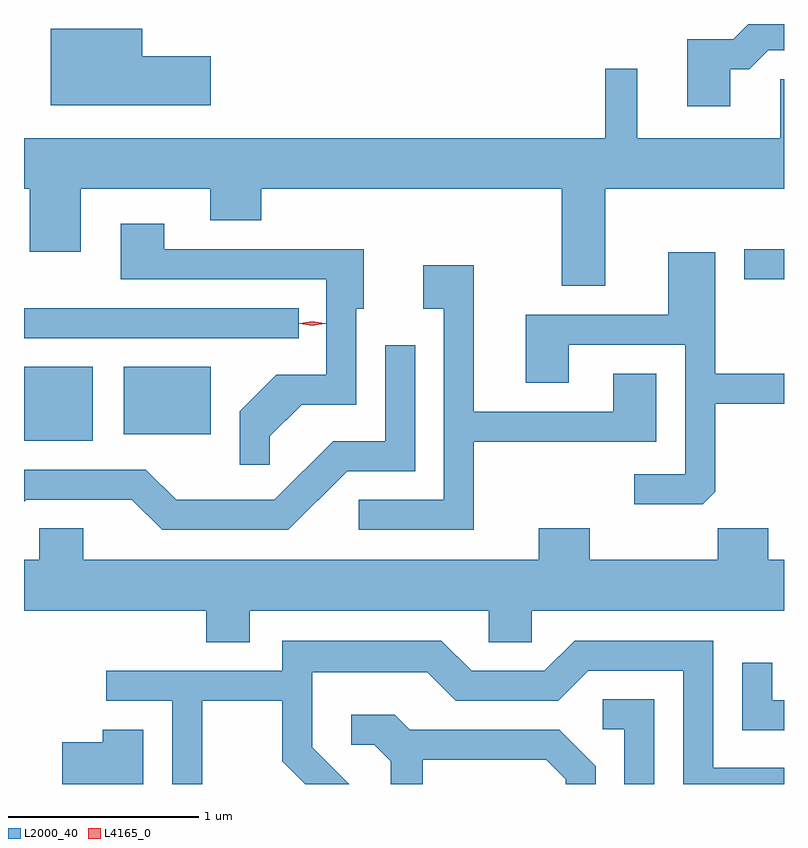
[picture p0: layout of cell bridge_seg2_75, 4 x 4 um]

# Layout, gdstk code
import gdstk
lib = gdstk.Library(unit=1e-6, precision=1e-09)
def R(c, l, rs):  # rectangles x0, y0, x1, y1
    for r in rs: c.add(gdstk.rectangle(r[:2], r[2:], *l))
def P(c, l, *ps):  # polygons
    for p in ps: c.add(gdstk.Polygon(p, *l))
L2000_40 = (2000, 40)
L4165_0 = (4165, 0)

bridge_seg2_75 = lib.new_cell('bridge_seg2_75')
R(bridge_seg2_75, L2000_40, [(1216.841,1066.971,1217.204,1067.359), (1217.366,1067.006,1217.824,1067.359), (1216.841,1067.511,1218.288,1067.669), (1220.633,1067.821,1220.841,1067.979)])
P(bridge_seg2_75, L2000_40, [(1220.559,1068.926),(1220.657,1068.926),(1220.757,1069.026),(1220.841,1069.026),(1220.841,1069.164),(1220.654,1069.164),(1220.574,1069.084),(1220.331,1069.084),(1220.331,1068.731),(1220.559,1068.731)],
  [(1217.824,1068.994),(1217.464,1068.994),(1217.464,1069.139),(1216.981,1069.139),(1216.981,1068.736),(1217.824,1068.736)],
  [(1219.899,1068.296),(1220.841,1068.296),(1220.841,1068.874),(1220.821,1068.874),(1220.821,1068.564),(1220.069,1068.564),(1220.069,1068.928),(1219.901,1068.928),(1219.901,1068.564),(1216.841,1068.564),(1216.841,1068.296),(1216.871,1068.296),(1216.871,1067.966),(1217.139,1067.966),(1217.139,1068.296),(1217.821,1068.296),(1217.821,1068.131),(1218.089,1068.131),(1218.089,1068.296),(1219.671,1068.296),(1219.671,1067.786),(1219.899,1067.786)],
  [(1218.134,1066.994),(1218.302,1067.161),(1218.589,1067.161),(1218.589,1067.666),(1218.629,1067.666),(1218.629,1067.979),(1217.579,1067.979),(1217.579,1068.114),(1217.351,1068.114),(1217.351,1067.821),(1218.431,1067.821),(1218.431,1067.319),(1218.169,1067.319),(1217.976,1067.127),(1217.976,1066.843),(1218.134,1066.843)],
  [(1220.479,1066.702),(1220.479,1067.166),(1220.841,1067.166),(1220.841,1067.324),(1220.479,1067.324),(1220.479,1067.964),(1220.231,1067.964),(1220.231,1067.634),(1219.481,1067.634),(1219.481,1067.276),(1219.709,1067.276),(1219.709,1067.476),(1220.321,1067.476),(1220.321,1066.794),(1220.053,1066.794),(1220.053,1066.636),(1220.414,1066.636)],
  [(1219.209,1066.966),(1220.169,1066.966),(1220.169,1067.324),(1219.941,1067.324),(1219.941,1067.124),(1219.209,1067.124),(1219.209,1067.894),(1218.941,1067.894),(1218.941,1067.666),(1219.051,1067.666),(1219.051,1066.659),(1218.603,1066.659),(1218.603,1066.501),(1219.209,1066.501)],
  [(1218.542,1066.811),(1218.899,1066.811),(1218.899,1067.473),(1218.741,1067.473),(1218.741,1066.969),(1218.469,1066.969),(1218.159,1066.659),(1217.642,1066.659),(1217.482,1066.819),(1216.841,1066.819),(1216.841,1066.65),(1216.852,1066.661),(1217.409,1066.661),(1217.569,1066.501),(1218.232,1066.501)],
  [(1218.029,1066.076),(1219.286,1066.076),(1219.286,1065.911),(1219.514,1065.911),(1219.514,1066.076),(1220.841,1066.076),(1220.841,1066.344),(1220.759,1066.344),(1220.759,1066.509),(1220.491,1066.509),(1220.491,1066.344),(1219.819,1066.344),(1219.819,1066.509),(1219.551,1066.509),(1219.551,1066.344),(1217.154,1066.344),(1217.154,1066.509),(1216.921,1066.509),(1216.921,1066.344),(1216.841,1066.344),(1216.841,1066.076),(1217.801,1066.076),(1217.801,1065.911),(1218.029,1065.911)],
  [(1217.779,1065.601),(1218.201,1065.601),(1218.201,1065.284),(1218.321,1065.164),(1218.552,1065.164),(1218.359,1065.357),(1218.359,1065.751),(1218.964,1065.751),(1219.114,1065.601),(1219.652,1065.601),(1219.812,1065.761),(1220.311,1065.761),(1220.311,1065.164),(1220.841,1065.164),(1220.841,1065.249),(1220.469,1065.249),(1220.469,1065.919),(1219.739,1065.919),(1219.579,1065.759),(1219.197,1065.759),(1219.037,1065.919),(1218.201,1065.919),(1218.201,1065.759),(1217.273,1065.759),(1217.273,1065.601),(1217.621,1065.601),(1217.621,1065.164),(1217.779,1065.164)],
  [(1220.841,1065.604),(1220.779,1065.604),(1220.779,1065.803),(1220.621,1065.803),(1220.621,1065.446),(1220.841,1065.446)],
  [(1220.159,1065.609),(1219.888,1065.609),(1219.888,1065.451),(1220.001,1065.451),(1220.001,1065.164),(1220.159,1065.164)],
  [(1218.939,1065.291),(1219.589,1065.291),(1219.691,1065.189),(1219.691,1065.164),(1219.849,1065.164),(1219.849,1065.257),(1219.657,1065.449),(1218.872,1065.449),(1218.792,1065.529),(1218.563,1065.529),(1218.563,1065.371),(1218.684,1065.371),(1218.771,1065.284),(1218.771,1065.164),(1218.939,1065.164)],
  [(1217.469,1065.449),(1217.256,1065.449),(1217.256,1065.384),(1217.041,1065.384),(1217.041,1065.164),(1217.469,1065.164)])
P(bridge_seg2_75, L4165_0, [(1218.359,1067.576),(1218.292,1067.586),(1218.292,1067.586),(1218.292,1067.587),(1218.359,1067.596),(1218.425,1067.587),(1218.426,1067.586),(1218.425,1067.586)],
  [(1218.358,1067.579),(1218.289,1067.59),(1218.289,1067.59),(1218.289,1067.59),(1218.358,1067.599),(1218.427,1067.588),(1218.428,1067.588),(1218.427,1067.587)])

lib.write_gds('bridge_seg2_75.gds')
